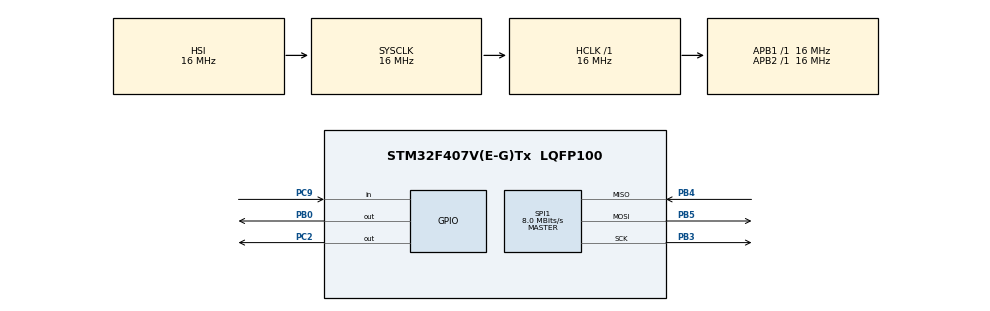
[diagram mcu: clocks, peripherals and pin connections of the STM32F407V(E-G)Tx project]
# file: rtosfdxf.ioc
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FREERTOS.Tasks01=defaultTask,0,128,StartDefaultTask,Default,NULL,Dynamic,NULL,NULL;myTask02,1,128,StartTask02,Default,NULL,Dynamic,NULL,NULL;myTask03,3,128,StartTask03,Default,NULL,Dynamic,NULL,NULL;myTask04,1,128,StartTask04,Default,NULL,Dynamic,NULL,NULL
FREERTOS.configUSE_NEWLIB_REENTRANT=1
Mcu.Family=STM32F4
Mcu.Name=STM32F407V(E-G)Tx
Mcu.Package=LQFP100
NVIC.PriorityGroup=NVIC_PRIORITYGROUP_4
NVIC.TIM3_IRQn=true\:15\:0\:false\:false\:true\:false\:false\:true\:true
NVIC.TimeBase=TIM3_IRQn
NVIC.TimeBaseIP=TIM3
PA13.Mode=Serial_Wire
PA13.Signal=SYS_JTMS-SWDIO
PA14.Mode=Serial_Wire
PA14.Signal=SYS_JTCK-SWCLK
PB0.Signal=GPIO_Output
PB3.Mode=Full_Duplex_Master
PB3.Signal=SPI1_SCK
PB4.Mode=Full_Duplex_Master
PB4.Signal=SPI1_MISO
PB5.Mode=Full_Duplex_Master
PB5.Signal=SPI1_MOSI
PC2.Signal=GPIO_Output
PC9.GPIO_PuPd=GPIO_NOPULL
PC9.Signal=GPIO_Input
PH0-OSC_IN.Mode=HSE-External-Oscillator
PH0-OSC_IN.Signal=RCC_OSC_IN
PH1-OSC_OUT.Mode=HSE-External-Oscillator
PH1-OSC_OUT.Signal=RCC_OSC_OUT
ProjectManager.HeapSize=0x200
ProjectManager.StackSize=0x400
ProjectManager.TargetToolchain=STM32CubeIDE
RCC.AHBFreq_Value=16000000
RCC.APB1Freq_Value=16000000
RCC.APB2Freq_Value=16000000
RCC.CortexFreq_Value=16000000
RCC.HSE_VALUE=25000000
RCC.HSI_VALUE=16000000
RCC.LSE_VALUE=32768
RCC.SYSCLKFreq_VALUE=16000000
RCC.VCOOutputFreq_Value=192000000
SPI1.CalculateBaudRate=8.0 MBits/s
SPI1.Direction=SPI_DIRECTION_2LINES
SPI1.Mode=SPI_MODE_MASTER
SPI1.VirtualType=VM_MASTER
VP_FREERTOS_VS_CMSIS_V1.Mode=CMSIS_V1
VP_SYS_VS_tim3.Mode=TIM3
board=custom

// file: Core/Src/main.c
/* USER CODE BEGIN Header */
/**
 ******************************************************************************
 * @file           : main.c
 * @brief          : Main program body
 ******************************************************************************
 * @attention
 *
 * Copyright (c) 2025 STMicroelectronics.
 * All rights reserved.
 *
 * This software is licensed under terms that can be found in the LICENSE file
 * in the root directory of this software component.
 * If no LICENSE file comes with this software, it is provided AS-IS.
 *
 ******************************************************************************
 */
/* USER CODE END Header */
#include "main.h"
#include "cmsis_os.h"

/* USER CODE BEGIN Includes */
#include "W25Qxx.h"
#include <stdio.h>
#include <stdint.h>
#include <string.h>
/* USER CODE END Includes */

SPI_HandleTypeDef hspi1;

osThreadId defaultTaskHandle;
osThreadId myTask02Handle;
osThreadId myTask03Handle;
osThreadId myTask04Handle;

void SystemClock_Config(void);
static void MX_GPIO_Init(void);
static void MX_SPI1_Init(void);
void StartDefaultTask(void const * argument);
void StartTask02(void const * argument);
void StartTask03(void const * argument);
void StartTask04(void const * argument);

/* USER CODE BEGIN 0 */
uint32_t ID = 23;

uint8_t TxData[30];
uint8_t RxData[51];
uint32_t index1 = 0;
uint8_t rajat[50] = "123456789012345678901234567890123456789012345678772";
static unsigned int count=0;
static unsigned int counter=0;
static unsigned int status=0;
/* USER CODE END 0 */

int main(void)
{

	/* MCU Configuration--------------------------------------------------------*/

	/* Reset of all peripherals, Initializes the Flash interface and the Systick. */
	HAL_Init();

	/* Configure the system clock */
	SystemClock_Config();

	/* Initialize all configured peripherals */
	MX_GPIO_Init();
	MX_SPI1_Init();
	/* USER CODE BEGIN 2 */
	W25Q_Reset();
	ID = W25Q_ReadID();
	/* USER CODE END 2 */

	/* Create the thread(s) */
	/* definition and creation of defaultTask */
	osThreadDef(defaultTask, StartDefaultTask, osPriorityNormal, 0, 128);
	defaultTaskHandle = osThreadCreate(osThread(defaultTask), NULL);

	/* definition and creation of myTask02 */
	osThreadDef(myTask02, StartTask02, osPriorityAboveNormal, 0, 128);
	myTask02Handle = osThreadCreate(osThread(myTask02), NULL);

	/* definition and creation of myTask03 */
	osThreadDef(myTask03, StartTask03, osPriorityRealtime, 0, 128);
	myTask03Handle = osThreadCreate(osThread(myTask03), NULL);

	/* definition and creation of myTask04 */
	osThreadDef(myTask04, StartTask04, osPriorityAboveNormal, 0, 128);
	myTask04Handle = osThreadCreate(osThread(myTask04), NULL);

	/* Start scheduler */
	osKernelStart();

	/* We should never get here as control is now taken by the scheduler */

	/* Infinite loop */
	while (1)
	{

	}
}

void SystemClock_Config(void)
{
	RCC_OscInitTypeDef RCC_OscInitStruct = {0};
	RCC_ClkInitTypeDef RCC_ClkInitStruct = {0};

	/** Configure the main internal regulator output voltage
	 */
	__HAL_RCC_PWR_CLK_ENABLE();
	__HAL_PWR_VOLTAGESCALING_CONFIG(PWR_REGULATOR_VOLTAGE_SCALE1);

	/** Initializes the RCC Oscillators according to the specified parameters
	 * in the RCC_OscInitTypeDef structure.
	 */
	RCC_OscInitStruct.OscillatorType = RCC_OSCILLATORTYPE_HSI;
	RCC_OscInitStruct.HSIState = RCC_HSI_ON;
	RCC_OscInitStruct.HSICalibrationValue = RCC_HSICALIBRATION_DEFAULT;
	RCC_OscInitStruct.PLL.PLLState = RCC_PLL_NONE;
	if (HAL_RCC_OscConfig(&RCC_OscInitStruct) != HAL_OK)
	{
		Error_Handler();
	}

	/** Initializes the CPU, AHB and APB buses clocks
	 */
	RCC_ClkInitStruct.ClockType = RCC_CLOCKTYPE_HCLK|RCC_CLOCKTYPE_SYSCLK
			|RCC_CLOCKTYPE_PCLK1|RCC_CLOCKTYPE_PCLK2;
	RCC_ClkInitStruct.SYSCLKSource = RCC_SYSCLKSOURCE_HSI;
	RCC_ClkInitStruct.AHBCLKDivider = RCC_SYSCLK_DIV1;
	RCC_ClkInitStruct.APB1CLKDivider = RCC_HCLK_DIV1;
	RCC_ClkInitStruct.APB2CLKDivider = RCC_HCLK_DIV1;

	if (HAL_RCC_ClockConfig(&RCC_ClkInitStruct, FLASH_LATENCY_0) != HAL_OK)
	{
		Error_Handler();
	}
}

static void MX_SPI1_Init(void)
{

	/* SPI1 parameter configuration*/
	hspi1.Instance = SPI1;
	hspi1.Init.Mode = SPI_MODE_MASTER;
	hspi1.Init.Direction = SPI_DIRECTION_2LINES;
	hspi1.Init.DataSize = SPI_DATASIZE_8BIT;
	hspi1.Init.CLKPolarity = SPI_POLARITY_LOW;
	hspi1.Init.CLKPhase = SPI_PHASE_1EDGE;
	hspi1.Init.NSS = SPI_NSS_SOFT;
	hspi1.Init.BaudRatePrescaler = SPI_BAUDRATEPRESCALER_2;
	hspi1.Init.FirstBit = SPI_FIRSTBIT_MSB;
	hspi1.Init.TIMode = SPI_TIMODE_DISABLE;
	hspi1.Init.CRCCalculation = SPI_CRCCALCULATION_DISABLE;
	hspi1.Init.CRCPolynomial = 10;
	if (HAL_SPI_Init(&hspi1) != HAL_OK)
	{
		Error_Handler();
	}

}

static void MX_GPIO_Init(void)
{
	GPIO_InitTypeDef GPIO_InitStruct = {0};

	/* GPIO Ports Clock Enable */
	__HAL_RCC_GPIOH_CLK_ENABLE();
	__HAL_RCC_GPIOC_CLK_ENABLE();
	__HAL_RCC_GPIOB_CLK_ENABLE();
	__HAL_RCC_GPIOA_CLK_ENABLE();

	/*Configure GPIO pin Output Level */
	HAL_GPIO_WritePin(GPIOC, GPIO_PIN_2, GPIO_PIN_RESET);

	/*Configure GPIO pin Output Level */
	HAL_GPIO_WritePin(GPIOB, GPIO_PIN_0, GPIO_PIN_RESET);

	/*Configure GPIO pin : PC2 */
	GPIO_InitStruct.Pin = GPIO_PIN_2;
	GPIO_InitStruct.Mode = GPIO_MODE_OUTPUT_PP;
	GPIO_InitStruct.Pull = GPIO_NOPULL;
	GPIO_InitStruct.Speed = GPIO_SPEED_FREQ_LOW;
	HAL_GPIO_Init(GPIOC, &GPIO_InitStruct);

	/*Configure GPIO pin : PB0 */
	GPIO_InitStruct.Pin = GPIO_PIN_0;
	GPIO_InitStruct.Mode = GPIO_MODE_OUTPUT_PP;
	GPIO_InitStruct.Pull = GPIO_NOPULL;
	GPIO_InitStruct.Speed = GPIO_SPEED_FREQ_LOW;
	HAL_GPIO_Init(GPIOB, &GPIO_InitStruct);

	/*Configure GPIO pin : PC9 */
	GPIO_InitStruct.Pin = GPIO_PIN_9;
	GPIO_InitStruct.Mode = GPIO_MODE_INPUT;
	GPIO_InitStruct.Pull = GPIO_NOPULL;
	HAL_GPIO_Init(GPIOC, &GPIO_InitStruct);

}

void StartDefaultTask(void const * argument)
{
	/* USER CODE BEGIN 5 */
	if(counter++ == 0){
		counter=1;
		osThreadSuspend(myTask02Handle);
		osThreadSuspend(myTask03Handle);
		osThreadSuspend(myTask04Handle);

		//W25Q_Write_Page(0, 0, strlen(rajat), rajat);
		W25Q_Read(0, 0, sizeof(RxData), RxData);
		osThreadResume(myTask02Handle);
		osThreadResume(myTask03Handle);
		osThreadResume(myTask04Handle);

	}
	/* Infinite loop */
	for(;;)
	{
		//		status = HAL_GPIO_ReadPin(GPIOC, GPIO_PIN_9);
		//
		//
		//		if(HAL_GPIO_ReadPin(GPIOC, GPIO_PIN_9) == GPIO_PIN_SET){
		//			NVIC_SystemReset();
		//
		//		}
		//		else{
		//			W25Q_Write_Page(0, 2, strlen(rajat), rajat);
		//			count++;
		////			  W25Q_Read(0, 2, 4000, RxData);
		//		}

		//		W25Q_Write_Page(0, 2, strlen(rajat), rajat);

		if(count++ >= 1000){
			count=0;
			osThreadSuspend(myTask02Handle);
			osThreadSuspend(myTask03Handle);
			osThreadSuspend(myTask04Handle);

			W25Q_Write_Page(0, 0, strlen(rajat), rajat);
			//W25Q_Read(0, 0, sizeof(RxData), RxData);
			osThreadResume(myTask02Handle);
			osThreadResume(myTask03Handle);
			osThreadResume(myTask04Handle);
			NVIC_SystemReset();

		}

	}
	/* USER CODE END 5 */
}

void StartTask02(void const * argument)
{
	/* USER CODE BEGIN StartTask02 */
	/* Infinite loop */
	for(;;)
	{

		//HAL_Delay(200);
		HAL_GPIO_WritePin(GPIOC, GPIO_PIN_2, 1);
		osDelay(1);
	}
	/* USER CODE END StartTask02 */
}

void StartTask03(void const * argument)
{
	/* USER CODE BEGIN StartTask03 */
	/* Infinite loop */
	for(;;)
	{

		osDelay(2000);
		HAL_GPIO_WritePin(GPIOC, GPIO_PIN_2, 0);
		//osDelay(1);
	}
	/* USER CODE END StartTask03 */
}

void StartTask04(void const * argument)
{
	/* USER CODE BEGIN StartTask04 */
	/* Infinite loop */
	for(;;)
	{

		osDelay(100);
	}
	/* USER CODE END StartTask04 */
}

void HAL_TIM_PeriodElapsedCallback(TIM_HandleTypeDef *htim)
{
	if (htim->Instance == TIM3)
	{
		HAL_IncTick();
	}
}

void Error_Handler(void)
{
	__disable_irq();
	while (1)
	{
	}
}
